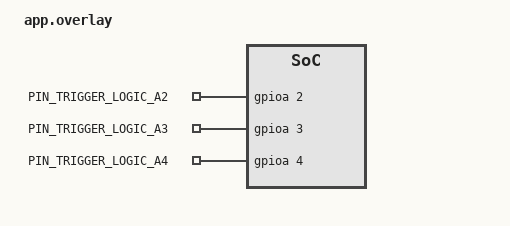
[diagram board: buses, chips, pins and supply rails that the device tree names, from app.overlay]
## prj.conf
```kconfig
CONFIG_PRINTK=y
CONFIG_HEAP_MEM_POOL_SIZE=256
CONFIG_ASSERT=y
CONFIG_GPIO=y
#CONFIG_PRIORITY_CEILING=100
```

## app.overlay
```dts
/ {
	pins {
		compatible = "gpio-leds";
		a2: a2 {
			gpios = <&gpioa 2 GPIO_ACTIVE_HIGH>;
			label = "PIN_TRIGGER_LOGIC_A2";
		};
		a3: a3 {
			gpios = <&gpioa 3 GPIO_ACTIVE_HIGH>;
			label = "PIN_TRIGGER_LOGIC_A3";
		};
		a4: a4 {
			gpios = <&gpioa 4 GPIO_ACTIVE_HIGH>;
			label = "PIN_TRIGGER_LOGIC_A4";
		};
	};
};
```

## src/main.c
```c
/*
 * 2024, DLH
 * 
 */

#include <zephyr/kernel.h>
#include <zephyr/device.h>
#include <zephyr/drivers/gpio.h>
#include <zephyr/sys/printk.h>
#include <zephyr/sys/__assert.h>
#include <string.h>

/* size of stack area used by each thread */
#define STACKSIZE 1024

/* Scheduling priority used by each thread.
 * "A thread’s priority is an integer value, 
 *  and can be either negative or non-negative. 
 *  Numerically lower priorities takes precedence 
 *  over numerically higher values."
 * https://docs.zephyrproject.org/latest/kernel/services/threads/index.html#thread-priorities
 */
#define PRIORITY_A 7
#define PRIORITY_B 8
#define PRIORITY_C 9
#define PRIORITY_UART 7

/* Get a handle to the device from the device tree using an alias.
 * Aliases are defined in boards/riscv/longan_nano/longan_nano-common.dtsi
 */
#define LED0_NODE DT_ALIAS(led0)
#define LED1_NODE DT_ALIAS(led1)
#define LED2_NODE DT_ALIAS(led2)

/* Get a handle to the device from the device tree using a label.
 * Those are defined in an overlay located at the project root ./app.overlay
 * or in the board folder ./boards/longan-nano.overlay
 */
#define A2_NODE DT_NODELABEL(a2)
#define A3_NODE DT_NODELABEL(a3)
#define A4_NODE DT_NODELABEL(a4)

#if !DT_NODE_HAS_STATUS(LED0_NODE, okay)
#error "Unsupported board: led0 devicetree alias is not defined"
#endif

#if !DT_NODE_HAS_STATUS(LED1_NODE, okay)
#error "Unsupported board: led1 devicetree alias is not defined"
#endif

#if !DT_NODE_HAS_STATUS(LED2_NODE, okay)
#error "Unsupported board: led2 devicetree alias is not defined"
#endif

struct printk_data_t {
	void *fifo_reserved; /* 1st word reserved for use by fifo */
	uint32_t led;
	uint32_t cnt;
};

K_FIFO_DEFINE(printk_fifo);

struct gpio {
	/* Details of the gpio: port, label, active high or low, ... */
	struct gpio_dt_spec spec;
	/* Arbitrary ID used for debug print */
	uint8_t num;
};

static const struct gpio led0 = {
	.spec = GPIO_DT_SPEC_GET_OR(LED0_NODE, gpios, {0}),
	.num = 0,
};

static const struct gpio led1 = {
	.spec = GPIO_DT_SPEC_GET_OR(LED1_NODE, gpios, {0}),
	.num = 1,
};

static const struct gpio led2 = {
	.spec = GPIO_DT_SPEC_GET_OR(LED2_NODE, gpios, {0}),
	.num = 2,
};

static const struct gpio a2 = {
	.spec = GPIO_DT_SPEC_GET_OR(A2_NODE, gpios, {0}),
	.num = 0,
};

static const struct gpio a3 = {
	.spec = GPIO_DT_SPEC_GET_OR(A3_NODE, gpios, {0}),
	.num = 0,
};

static const struct gpio a4 = {
	.spec = GPIO_DT_SPEC_GET_OR(A4_NODE, gpios, {0}),
	.num = 0,
};

void blink(const struct gpio *led, const struct gpio *pin, uint32_t period_ms, uint32_t ontime_ms, uint32_t id)
{
	const struct gpio_dt_spec *spec = &led->spec;
	const struct gpio_dt_spec *spec_trig = &pin->spec;
	int cnt = 0;
	int ret;

	if (!device_is_ready(spec->port)) {
		printk("Error: %s device is not ready\n", spec->port->name);
		return;
	}

	ret = gpio_pin_configure_dt(spec, GPIO_OUTPUT);
	if (ret != 0) {
		printk("Error %d: failed to configure pin %d (LED '%d')\n",
			ret, spec->pin, led->num);
		return;
	}
	
	gpio_pin_configure_dt(spec_trig, GPIO_OUTPUT);
	if (ret != 0) {
		printk("Error %d: failed to configure pin %d (TRIG '%d')\n",
			ret, spec_trig->pin, pin->num);
		return;
	}

	while (1) {
		/* Set the value of the pin, 0 or 1 */
		gpio_pin_set(spec->port, spec->pin, cnt % 2);
		/*gpio_pin_set(spec_trig->port, spec_trig->pin, cnt % 2);*/
		/* Toggle the value of the pin */
		gpio_pin_toggle_dt(spec_trig);

		/* Prepare stuff to be written on the kernel output */
		struct printk_data_t tx_data = { .led = id, .cnt = cnt };
		size_t size = sizeof(struct printk_data_t);
		char *mem_ptr = k_malloc(size);
		__ASSERT_NO_MSG(mem_ptr != 0);
		memcpy(mem_ptr, &tx_data, size);
		k_fifo_put(&printk_fifo, mem_ptr);

		k_msleep(period_ms);
		cnt++;
	}
}

void blink0(void)
{
	blink(&led0, &a2, 200, 100,  0);
}

void blink1(void)
{
	blink(&led1, &a3, 500, 250, 1);
}

void blink2(void)
{
	blink(&led2, &a4, 1000, 500, 2);
}

void uart_out(void)
{
	while (1) {
		struct printk_data_t *rx_data = k_fifo_get(&printk_fifo,
							   K_FOREVER);
		printk("Toggled led%d; counter=%d\n",
		       rx_data->led, rx_data->cnt);
		k_free(rx_data);
	}
}

K_THREAD_DEFINE(blink0_id, STACKSIZE, blink0, NULL, NULL, NULL,
		PRIORITY_A, 0, 0);
K_THREAD_DEFINE(blink1_id, STACKSIZE, blink1, NULL, NULL, NULL,
		PRIORITY_B, 0, 0);
K_THREAD_DEFINE(blink2_id, STACKSIZE, blink2, NULL, NULL, NULL,
		PRIORITY_C, 0, 0);
K_THREAD_DEFINE(uart_out_id, STACKSIZE, uart_out, NULL, NULL, NULL,
		PRIORITY_UART, 0, 0);
```
